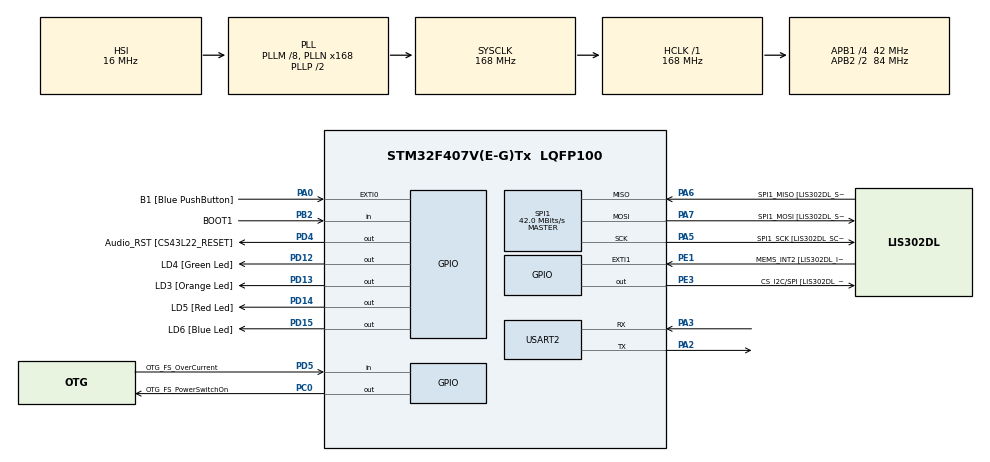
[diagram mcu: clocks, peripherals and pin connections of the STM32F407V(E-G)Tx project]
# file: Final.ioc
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Mcu.Family=STM32F4
Mcu.Name=STM32F407V(E-G)Tx
Mcu.Package=LQFP100
NVIC.PriorityGroup=NVIC_PRIORITYGROUP_0
NVIC.USART2_IRQn=true\:0\:0\:false\:false\:true\:true
PA0-WKUP.GPIO_Label=B1 [Blue PushButton]
PA0-WKUP.GPIO_ModeDefaultEXTI=GPIO_MODE_EVT_RISING
PA0-WKUP.GPIO_PuPd=GPIO_NOPULL
PA0-WKUP.Signal=GPXTI0
PA10.GPIO_Label=OTG_FS_ID
PA10.GPIO_Mode=GPIO_MODE_AF_PP
PA10.GPIO_PuPd=GPIO_NOPULL
PA10.GPIO_Speed=GPIO_SPEED_FREQ_LOW
PA10.Signal=USB_OTG_FS_ID
PA11.GPIO_Label=OTG_FS_DM
PA11.GPIO_Mode=GPIO_MODE_AF_PP
PA11.GPIO_PuPd=GPIO_NOPULL
PA11.GPIO_Speed=GPIO_SPEED_FREQ_LOW
PA11.Signal=USB_OTG_FS_DM
PA12.GPIO_Label=OTG_FS_DP
PA12.GPIO_Mode=GPIO_MODE_AF_PP
PA12.GPIO_PuPd=GPIO_NOPULL
PA12.GPIO_Speed=GPIO_SPEED_FREQ_LOW
PA12.Signal=USB_OTG_FS_DP
PA13.GPIO_Label=SWDIO
PA13.Signal=SYS_JTMS-SWDIO
PA14.GPIO_Label=SWCLK
PA14.Signal=SYS_JTCK-SWCLK
PA2.Mode=Asynchronous
PA2.Signal=USART2_TX
PA3.Mode=Asynchronous
PA3.Signal=USART2_RX
PA4.GPIO_Label=I2S3_WS [CS43L22_LRCK]
PA4.GPIO_Mode=GPIO_MODE_AF_PP
PA4.GPIO_PuPd=GPIO_NOPULL
PA4.GPIO_Speed=GPIO_SPEED_FREQ_LOW
PA4.Signal=I2S3_WS
PA5.GPIO_Label=SPI1_SCK [LIS302DL_SCL/SPC]
PA5.GPIO_Mode=GPIO_MODE_AF_PP
PA5.GPIO_PuPd=GPIO_NOPULL
PA5.GPIO_Speed=GPIO_SPEED_FREQ_LOW
PA5.Mode=Full_Duplex_Master
PA5.Signal=SPI1_SCK
PA6.GPIO_Label=SPI1_MISO [LIS302DL_SDO]
PA6.GPIO_Mode=GPIO_MODE_AF_PP
PA6.GPIO_PuPd=GPIO_NOPULL
PA6.GPIO_Speed=GPIO_SPEED_FREQ_LOW
PA6.Mode=Full_Duplex_Master
PA6.Signal=SPI1_MISO
PA7.GPIO_Label=SPI1_MOSI [LIS302DL_SDA/SDI/SDO]
PA7.GPIO_Mode=GPIO_MODE_AF_PP
PA7.GPIO_PuPd=GPIO_NOPULL
PA7.GPIO_Speed=GPIO_SPEED_FREQ_LOW
PA7.Mode=Full_Duplex_Master
PA7.Signal=SPI1_MOSI
PA9.GPIO_Label=VBUS_FS
PA9.GPIO_Mode=GPIO_MODE_INPUT
PA9.GPIO_PuPd=GPIO_NOPULL
PA9.Signal=USB_OTG_FS_VBUS
PB10.GPIO_Label=CLK_IN [MP45DT02_CLK]
PB10.GPIO_Mode=GPIO_MODE_AF_PP
PB10.GPIO_PuPd=GPIO_NOPULL
PB10.GPIO_Speed=GPIO_SPEED_FREQ_LOW
PB10.Signal=I2S2_CK
PB2.GPIO_Label=BOOT1
PB2.GPIO_Mode=GPIO_MODE_INPUT
PB2.GPIO_PuPd=GPIO_NOPULL
PB2.Signal=GPIO_Input
PB3.GPIO_Label=SWO
PB3.Signal=SYS_JTDO-SWO
PB6.GPIO_Label=Audio_SCL [CS43L22_SCL]
PB6.GPIO_Mode=GPIO_MODE_AF_OD
PB6.GPIO_PuPd=GPIO_NOPULL
PB6.GPIO_Speed=GPIO_SPEED_FREQ_LOW
PB6.Signal=I2C1_SCL
PB9.GPIO_Label=Audio_SDA [CS43L22_SDA]
PB9.GPIO_Mode=GPIO_MODE_AF_OD
PB9.GPIO_PuPd=GPIO_NOPULL
PB9.GPIO_Speed=GPIO_SPEED_FREQ_LOW
PB9.Signal=I2C1_SDA
PC0.GPIO_Label=OTG_FS_PowerSwitchOn
PC0.GPIO_PuPd=GPIO_NOPULL
PC0.GPIO_Speed=GPIO_SPEED_FREQ_LOW
PC0.PinState=GPIO_PIN_SET
PC0.Signal=GPIO_Output
PC10.GPIO_Label=I2S3_SCK [CS43L22_SCLK]
PC10.GPIO_Mode=GPIO_MODE_AF_PP
PC10.GPIO_PuPd=GPIO_NOPULL
PC10.GPIO_Speed=GPIO_SPEED_FREQ_LOW
PC10.Signal=I2S3_CK
PC12.GPIO_Label=I2S3_SD [CS43L22_SDIN]
PC12.GPIO_Mode=GPIO_MODE_AF_PP
PC12.GPIO_PuPd=GPIO_NOPULL
PC12.GPIO_Speed=GPIO_SPEED_FREQ_LOW
PC12.Signal=I2S3_SD
PC14-OSC32_IN.GPIO_Label=PC14-OSC32_IN
PC14-OSC32_IN.Signal=RCC_OSC32_IN
PC15-OSC32_OUT.GPIO_Label=PC15-OSC32_OUT
PC15-OSC32_OUT.Signal=RCC_OSC32_OUT
PC3.GPIO_Label=PDM_OUT [MP45DT02_DOUT]
PC3.GPIO_Mode=GPIO_MODE_AF_PP
PC3.GPIO_PuPd=GPIO_NOPULL
PC3.GPIO_Speed=GPIO_SPEED_FREQ_LOW
PC3.Signal=I2S2_SD
PC7.GPIO_Label=I2S3_MCK [CS43L22_MCLK]
PC7.GPIO_Mode=GPIO_MODE_AF_PP
PC7.GPIO_PuPd=GPIO_NOPULL
PC7.GPIO_Speed=GPIO_SPEED_FREQ_LOW
PC7.Signal=I2S3_MCK
PD12.GPIO_Label=LD4 [Green Led]
PD12.GPIO_PuPd=GPIO_NOPULL
PD12.GPIO_Speed=GPIO_SPEED_FREQ_LOW
PD12.Signal=GPIO_Output
PD13.GPIO_Label=LD3 [Orange Led]
PD13.GPIO_PuPd=GPIO_NOPULL
PD13.GPIO_Speed=GPIO_SPEED_FREQ_LOW
PD13.Signal=GPIO_Output
PD14.GPIO_Label=LD5 [Red Led]
PD14.GPIO_PuPd=GPIO_NOPULL
PD14.GPIO_Speed=GPIO_SPEED_FREQ_LOW
PD14.Signal=GPIO_Output
PD15.GPIO_Label=LD6 [Blue Led]
PD15.GPIO_PuPd=GPIO_NOPULL
PD15.GPIO_Speed=GPIO_SPEED_FREQ_LOW
PD15.Signal=GPIO_Output
PD4.GPIO_Label=Audio_RST [CS43L22_RESET]
PD4.GPIO_PuPd=GPIO_NOPULL
PD4.GPIO_Speed=GPIO_SPEED_FREQ_LOW
PD4.Signal=GPIO_Output
PD5.GPIO_Label=OTG_FS_OverCurrent
PD5.GPIO_Mode=GPIO_MODE_INPUT
PD5.GPIO_PuPd=GPIO_NOPULL
PD5.Signal=GPIO_Input
PE1.GPIO_Label=MEMS_INT2 [LIS302DL_INT2]
PE1.GPIO_ModeDefaultEXTI=GPIO_MODE_EVT_RISING
PE1.GPIO_PuPd=GPIO_NOPULL
PE1.Signal=GPXTI1
PE3.GPIO_Label=CS_I2C/SPI [LIS302DL_CS_I2C/SPI]
PE3.GPIO_PuPd=GPIO_NOPULL
PE3.GPIO_Speed=GPIO_SPEED_FREQ_LOW
PE3.Signal=GPIO_Output
PH0-OSC_IN.GPIO_Label=PH0-OSC_IN
PH0-OSC_IN.Signal=RCC_OSC_IN
PH1-OSC_OUT.GPIO_Label=PH1-OSC_OUT
PH1-OSC_OUT.Signal=RCC_OSC_OUT
ProjectManager.HeapSize=0x200
ProjectManager.StackSize=0x400
ProjectManager.TargetToolchain=MDK-ARM V5
RCC.48MHZClocksFreq_Value=48000000
RCC.AHBFreq_Value=168000000
RCC.APB1CLKDivider=RCC_HCLK_DIV4
RCC.APB1Freq_Value=42000000
RCC.APB1TimFreq_Value=84000000
RCC.APB2CLKDivider=RCC_HCLK_DIV2
RCC.APB2Freq_Value=84000000
RCC.APB2TimFreq_Value=168000000
RCC.CortexFreq_Value=168000000
RCC.HCLKFreq_Value=168000000
RCC.HSE_VALUE=8000000
RCC.HSI_VALUE=16000000
RCC.LSE_VALUE=32768
RCC.PLLM=8
RCC.PLLN=168
RCC.PLLQ=7
RCC.SYSCLKFreq_VALUE=168000000
RCC.SYSCLKSource=RCC_SYSCLKSOURCE_PLLCLK
RCC.VCOOutputFreq_Value=336000000
SPI1.CalculateBaudRate=42.0 MBits/s
SPI1.Direction=SPI_DIRECTION_2LINES
SPI1.Mode=SPI_MODE_MASTER
SPI1.VirtualType=VM_MASTER
USART2.VirtualMode=VM_ASYNC
board=STM32F4DISCOVERY

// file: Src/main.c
/**
  ******************************************************************************
  * @file           : main.c
  * @brief          : Main program body
  ******************************************************************************
  ** This notice applies to any and all portions of this file
  * that are not between comment pairs USER CODE BEGIN and
  * USER CODE END. Other portions of this file, whether
  * inserted by the user or by software development tools
  * are owned by their respective copyright owners.
  *
  * COPYRIGHT(c) 2019 STMicroelectronics
  *
  * Redistribution and use in source and binary forms, with or without modification,
  * are permitted provided that the following conditions are met:
  *   1. Redistributions of source code must retain the above copyright notice,
  *      this list of conditions and the following disclaimer.
  *   2. Redistributions in binary form must reproduce the above copyright notice,
  *      this list of conditions and the following disclaimer in the documentation
  *      and/or other materials provided with the distribution.
  *   3. Neither the name of STMicroelectronics nor the names of its contributors
  *      may be used to endorse or promote products derived from this software
  *      without specific prior written permission.
  *
  * THIS SOFTWARE IS PROVIDED BY THE COPYRIGHT HOLDERS AND CONTRIBUTORS "AS IS"
  * AND ANY EXPRESS OR IMPLIED WARRANTIES, INCLUDING, BUT NOT LIMITED TO, THE
  * IMPLIED WARRANTIES OF MERCHANTABILITY AND FITNESS FOR A PARTICULAR PURPOSE ARE
  * DISCLAIMED. IN NO EVENT SHALL THE COPYRIGHT HOLDER OR CONTRIBUTORS BE LIABLE
  * FOR ANY DIRECT, INDIRECT, INCIDENTAL, SPECIAL, EXEMPLARY, OR CONSEQUENTIAL
  * DAMAGES (INCLUDING, BUT NOT LIMITED TO, PROCUREMENT OF SUBSTITUTE GOODS OR
  * SERVICES; LOSS OF USE, DATA, OR PROFITS; OR BUSINESS INTERRUPTION) HOWEVER
  * CAUSED AND ON ANY THEORY OF LIABILITY, WHETHER IN CONTRACT, STRICT LIABILITY,
  * OR TORT (INCLUDING NEGLIGENCE OR OTHERWISE) ARISING IN ANY WAY OUT OF THE USE
  * OF THIS SOFTWARE, EVEN IF ADVISED OF THE POSSIBILITY OF SUCH DAMAGE.
  *
  ******************************************************************************
  */
#include "main.h"
#include "stm32f4xx_hal.h"

/* USER CODE BEGIN Includes */
#include "nrf24l01.h"
#include "string.h"
/* USER CODE END Includes */

SPI_HandleTypeDef hspi1;

extern UART_HandleTypeDef huart2;
UART_HandleTypeDef huart2;

/* USER CODE BEGIN PV */
/* Private variables ---------------------------------------------------------*/

/* USER CODE END PV */

void SystemClock_Config(void);
static void MX_GPIO_Init(void);
static void MX_SPI1_Init(void);
static void MX_USART2_UART_Init(void);

/* USER CODE BEGIN PFP */
/* Private function prototypes -----------------------------------------------*/

/* USER CODE END PFP */

/* USER CODE BEGIN 0 */
uint8_t data[32] = "";
int count = 0;
void receive_data_from_uart(){
	HAL_UART_Transmit(&huart2, (uint8_t *)"OK", 2 ,100);
	char ch = 'a';
	while(ch != '\n')
	{
			while(HAL_UART_Receive(&huart2,(unsigned char *)&ch, 1,100) != HAL_OK){};
			data[count++] = ch;
	}
	count = 0;
}

/* USER CODE END 0 */

int main(void)
{

  /* MCU Configuration----------------------------------------------------------*/

  /* Reset of all peripherals, Initializes the Flash interface and the Systick. */
  HAL_Init();

  /* USER CODE BEGIN Init */
		nrf24l01_dev dev;
		dev.spi = &hspi1;
    dev.DATA_RATE = NRF_DATA_RATE_1MBPS;
    dev.TX_POWER = NRF_TX_PWR_0dBm;
    dev.CRC_WIDTH = NRF_CRC_WIDTH_1B;
    dev.ADDR_WIDTH = NRF_ADDR_WIDTH_5;
    dev.STATE = NRF_STATE_TX; // this parameter can be deleted, each Rx/Tx will change this reg
    dev.PayloadLength = 32; // maximum is 32 Bytes
    dev.RetransmitCount = 10; // maximum is 15 times
    dev.RetransmitDelay = 0x0F; // 4000us, LSB:250us
		dev.RF_CHANNEL = 0;

    //enable RCC for GPIO port!!
    __HAL_RCC_GPIOA_CLK_ENABLE();
    dev.NRF_CSN_GPIOx = GPIOA;
    dev.NRF_CSN_GPIO_PIN = GPIO_PIN_0;
    dev.NRF_CE_GPIOx = GPIOA;
    dev.NRF_CE_GPIO_PIN = GPIO_PIN_1;
    dev.NRF_IRQ_GPIOx = GPIOA;
    dev.NRF_IRQ_GPIO_PIN = GPIO_PIN_2;

  /* USER CODE END Init */

  /* Configure the system clock */
  SystemClock_Config();

  /* Initialize all configured peripherals */
  MX_GPIO_Init();
	MX_SPI1_Init();
  MX_USART2_UART_Init();
  /* USER CODE BEGIN 2 */

	NRF_Init(&dev);
  static NRF_RESULT res;

  /* USER CODE END 2 */

  /* Infinite loop */
  while (1)
  {

  /* USER CODE BEGIN 3 */
		receive_data_from_uart();
	//	res = NRF_SendPacket(&dev, data);
//		res = NRF_ReceivePacket(&dev, data);

		HAL_UART_Transmit(&huart2, (uint8_t *)data, 5 ,100);
	//	HAL_UART_Transmit(&huart2, (uint8_t *)"OK", strlen("OK") ,100);

		HAL_Delay(1000);

  }
  /* USER CODE END 3 */

}

void SystemClock_Config(void)
{

  RCC_OscInitTypeDef RCC_OscInitStruct;
  RCC_ClkInitTypeDef RCC_ClkInitStruct;

    /**Configure the main internal regulator output voltage
    */
  __HAL_RCC_PWR_CLK_ENABLE();

  __HAL_PWR_VOLTAGESCALING_CONFIG(PWR_REGULATOR_VOLTAGE_SCALE1);

    /**Initializes the CPU, AHB and APB busses clocks
    */
  RCC_OscInitStruct.OscillatorType = RCC_OSCILLATORTYPE_HSI;
  RCC_OscInitStruct.HSIState = RCC_HSI_ON;
  RCC_OscInitStruct.HSICalibrationValue = 16;
  RCC_OscInitStruct.PLL.PLLState = RCC_PLL_ON;
  RCC_OscInitStruct.PLL.PLLSource = RCC_PLLSOURCE_HSI;
  RCC_OscInitStruct.PLL.PLLM = 8;
  RCC_OscInitStruct.PLL.PLLN = 168;
  RCC_OscInitStruct.PLL.PLLP = RCC_PLLP_DIV2;
  RCC_OscInitStruct.PLL.PLLQ = 7;
  if (HAL_RCC_OscConfig(&RCC_OscInitStruct) != HAL_OK)
  {
    _Error_Handler(__FILE__, __LINE__);
  }

    /**Initializes the CPU, AHB and APB busses clocks
    */
  RCC_ClkInitStruct.ClockType = RCC_CLOCKTYPE_HCLK|RCC_CLOCKTYPE_SYSCLK
                              |RCC_CLOCKTYPE_PCLK1|RCC_CLOCKTYPE_PCLK2;
  RCC_ClkInitStruct.SYSCLKSource = RCC_SYSCLKSOURCE_PLLCLK;
  RCC_ClkInitStruct.AHBCLKDivider = RCC_SYSCLK_DIV1;
  RCC_ClkInitStruct.APB1CLKDivider = RCC_HCLK_DIV4;
  RCC_ClkInitStruct.APB2CLKDivider = RCC_HCLK_DIV2;

  if (HAL_RCC_ClockConfig(&RCC_ClkInitStruct, FLASH_LATENCY_5) != HAL_OK)
  {
    _Error_Handler(__FILE__, __LINE__);
  }

    /**Configure the Systick interrupt time
    */
  HAL_SYSTICK_Config(HAL_RCC_GetHCLKFreq()/1000);

    /**Configure the Systick
    */
  HAL_SYSTICK_CLKSourceConfig(SYSTICK_CLKSOURCE_HCLK);

  /* SysTick_IRQn interrupt configuration */
  HAL_NVIC_SetPriority(SysTick_IRQn, 0, 0);
}

/* SPI1 init function */
static void MX_SPI1_Init(void)
{

  /* SPI1 parameter configuration*/
  hspi1.Instance = SPI1;
  hspi1.Init.Mode = SPI_MODE_MASTER;
  hspi1.Init.Direction = SPI_DIRECTION_2LINES;
  hspi1.Init.DataSize = SPI_DATASIZE_8BIT;
  hspi1.Init.CLKPolarity = SPI_POLARITY_LOW;
  hspi1.Init.CLKPhase = SPI_PHASE_1EDGE;
  hspi1.Init.NSS = SPI_NSS_SOFT;
  hspi1.Init.BaudRatePrescaler = SPI_BAUDRATEPRESCALER_2;
  hspi1.Init.FirstBit = SPI_FIRSTBIT_MSB;
  hspi1.Init.TIMode = SPI_TIMODE_DISABLE;
  hspi1.Init.CRCCalculation = SPI_CRCCALCULATION_DISABLE;
  hspi1.Init.CRCPolynomial = 10;
  if (HAL_SPI_Init(&hspi1) != HAL_OK)
  {
    _Error_Handler(__FILE__, __LINE__);
  }

}

/* USART2 init function */
static void MX_USART2_UART_Init(void)
{

  huart2.Instance = USART2;
  huart2.Init.BaudRate = 115200;
  huart2.Init.WordLength = UART_WORDLENGTH_8B;
  huart2.Init.StopBits = UART_STOPBITS_1;
  huart2.Init.Parity = UART_PARITY_NONE;
  huart2.Init.Mode = UART_MODE_TX_RX;
  huart2.Init.HwFlowCtl = UART_HWCONTROL_NONE;
  huart2.Init.OverSampling = UART_OVERSAMPLING_16;
  if (HAL_UART_Init(&huart2) != HAL_OK)
  {
    _Error_Handler(__FILE__, __LINE__);
  }

}

/** Configure pins as
        * Analog
        * Input
        * Output
        * EVENT_OUT
        * EXTI
     PC3   ------> I2S2_SD
     PA4   ------> I2S3_WS
     PB10   ------> I2S2_CK
     PC7   ------> I2S3_MCK
     PA9   ------> USB_OTG_FS_VBUS
     PA10   ------> USB_OTG_FS_ID
     PA11   ------> USB_OTG_FS_DM
     PA12   ------> USB_OTG_FS_DP
     PC10   ------> I2S3_CK
     PC12   ------> I2S3_SD
     PB6   ------> I2C1_SCL
     PB9   ------> I2C1_SDA
*/
static void MX_GPIO_Init(void)
{

  GPIO_InitTypeDef GPIO_InitStruct;

  /* GPIO Ports Clock Enable */
  __HAL_RCC_GPIOE_CLK_ENABLE();
  __HAL_RCC_GPIOC_CLK_ENABLE();
  __HAL_RCC_GPIOH_CLK_ENABLE();
  __HAL_RCC_GPIOA_CLK_ENABLE();
  __HAL_RCC_GPIOB_CLK_ENABLE();
  __HAL_RCC_GPIOD_CLK_ENABLE();

  /*Configure GPIO pin Output Level */
  HAL_GPIO_WritePin(CS_I2C_SPI_GPIO_Port, CS_I2C_SPI_Pin, GPIO_PIN_RESET);

  /*Configure GPIO pin Output Level */
  HAL_GPIO_WritePin(OTG_FS_PowerSwitchOn_GPIO_Port, OTG_FS_PowerSwitchOn_Pin, GPIO_PIN_SET);

  /*Configure GPIO pin Output Level */
  HAL_GPIO_WritePin(GPIOD, LD4_Pin|LD3_Pin|LD5_Pin|LD6_Pin
                          |Audio_RST_Pin, GPIO_PIN_RESET);

  /*Configure GPIO pin : CS_I2C_SPI_Pin */
  GPIO_InitStruct.Pin = CS_I2C_SPI_Pin;
  GPIO_InitStruct.Mode = GPIO_MODE_OUTPUT_PP;
  GPIO_InitStruct.Pull = GPIO_NOPULL;
  GPIO_InitStruct.Speed = GPIO_SPEED_FREQ_LOW;
  HAL_GPIO_Init(CS_I2C_SPI_GPIO_Port, &GPIO_InitStruct);

  /*Configure GPIO pin : OTG_FS_PowerSwitchOn_Pin */
  GPIO_InitStruct.Pin = OTG_FS_PowerSwitchOn_Pin;
  GPIO_InitStruct.Mode = GPIO_MODE_OUTPUT_PP;
  GPIO_InitStruct.Pull = GPIO_NOPULL;
  GPIO_InitStruct.Speed = GPIO_SPEED_FREQ_LOW;
  HAL_GPIO_Init(OTG_FS_PowerSwitchOn_GPIO_Port, &GPIO_InitStruct);

  /*Configure GPIO pin : PDM_OUT_Pin */
  GPIO_InitStruct.Pin = PDM_OUT_Pin;
  GPIO_InitStruct.Mode = GPIO_MODE_AF_PP;
  GPIO_InitStruct.Pull = GPIO_NOPULL;
  GPIO_InitStruct.Speed = GPIO_SPEED_FREQ_LOW;
  GPIO_InitStruct.Alternate = GPIO_AF5_SPI2;
  HAL_GPIO_Init(PDM_OUT_GPIO_Port, &GPIO_InitStruct);

  /*Configure GPIO pin : B1_Pin */
  GPIO_InitStruct.Pin = B1_Pin;
  GPIO_InitStruct.Mode = GPIO_MODE_EVT_RISING;
  GPIO_InitStruct.Pull = GPIO_NOPULL;
  HAL_GPIO_Init(B1_GPIO_Port, &GPIO_InitStruct);

  /*Configure GPIO pin : I2S3_WS_Pin */
  GPIO_InitStruct.Pin = I2S3_WS_Pin;
  GPIO_InitStruct.Mode = GPIO_MODE_AF_PP;
  GPIO_InitStruct.Pull = GPIO_NOPULL;
  GPIO_InitStruct.Speed = GPIO_SPEED_FREQ_LOW;
  GPIO_InitStruct.Alternate = GPIO_AF6_SPI3;
  HAL_GPIO_Init(I2S3_WS_GPIO_Port, &GPIO_InitStruct);

  /*Configure GPIO pin : BOOT1_Pin */
  GPIO_InitStruct.Pin = BOOT1_Pin;
  GPIO_InitStruct.Mode = GPIO_MODE_INPUT;
  GPIO_InitStruct.Pull = GPIO_NOPULL;
  HAL_GPIO_Init(BOOT1_GPIO_Port, &GPIO_InitStruct);

  /*Configure GPIO pin : CLK_IN_Pin */
  GPIO_InitStruct.Pin = CLK_IN_Pin;
  GPIO_InitStruct.Mode = GPIO_MODE_AF_PP;
  GPIO_InitStruct.Pull = GPIO_NOPULL;
  GPIO_InitStruct.Speed = GPIO_SPEED_FREQ_LOW;
  GPIO_InitStruct.Alternate = GPIO_AF5_SPI2;
  HAL_GPIO_Init(CLK_IN_GPIO_Port, &GPIO_InitStruct);

  /*Configure GPIO pins : LD4_Pin LD3_Pin LD5_Pin LD6_Pin
                           Audio_RST_Pin */
  GPIO_InitStruct.Pin = LD4_Pin|LD3_Pin|LD5_Pin|LD6_Pin
                          |Audio_RST_Pin;
  GPIO_InitStruct.Mode = GPIO_MODE_OUTPUT_PP;
  GPIO_InitStruct.Pull = GPIO_NOPULL;
  GPIO_InitStruct.Speed = GPIO_SPEED_FREQ_LOW;
  HAL_GPIO_Init(GPIOD, &GPIO_InitStruct);

  /*Configure GPIO pins : I2S3_MCK_Pin I2S3_SCK_Pin I2S3_SD_Pin */
  GPIO_InitStruct.Pin = I2S3_MCK_Pin|I2S3_SCK_Pin|I2S3_SD_Pin;
  GPIO_InitStruct.Mode = GPIO_MODE_AF_PP;
  GPIO_InitStruct.Pull = GPIO_NOPULL;
  GPIO_InitStruct.Speed = GPIO_SPEED_FREQ_LOW;
  GPIO_InitStruct.Alternate = GPIO_AF6_SPI3;
  HAL_GPIO_Init(GPIOC, &GPIO_InitStruct);

  /*Configure GPIO pin : VBUS_FS_Pin */
  GPIO_InitStruct.Pin = VBUS_FS_Pin;
  GPIO_InitStruct.Mode = GPIO_MODE_INPUT;
  GPIO_InitStruct.Pull = GPIO_NOPULL;
  HAL_GPIO_Init(VBUS_FS_GPIO_Port, &GPIO_InitStruct);

  /*Configure GPIO pins : OTG_FS_ID_Pin OTG_FS_DM_Pin OTG_FS_DP_Pin */
  GPIO_InitStruct.Pin = OTG_FS_ID_Pin|OTG_FS_DM_Pin|OTG_FS_DP_Pin;
  GPIO_InitStruct.Mode = GPIO_MODE_AF_PP;
  GPIO_InitStruct.Pull = GPIO_NOPULL;
  GPIO_InitStruct.Speed = GPIO_SPEED_FREQ_LOW;
  GPIO_InitStruct.Alternate = GPIO_AF10_OTG_FS;
  HAL_GPIO_Init(GPIOA, &GPIO_InitStruct);

  /*Configure GPIO pin : OTG_FS_OverCurrent_Pin */
  GPIO_InitStruct.Pin = OTG_FS_OverCurrent_Pin;
  GPIO_InitStruct.Mode = GPIO_MODE_INPUT;
  GPIO_InitStruct.Pull = GPIO_NOPULL;
  HAL_GPIO_Init(OTG_FS_OverCurrent_GPIO_Port, &GPIO_InitStruct);

  /*Configure GPIO pins : Audio_SCL_Pin Audio_SDA_Pin */
  GPIO_InitStruct.Pin = Audio_SCL_Pin|Audio_SDA_Pin;
  GPIO_InitStruct.Mode = GPIO_MODE_AF_OD;
  GPIO_InitStruct.Pull = GPIO_PULLUP;
  GPIO_InitStruct.Speed = GPIO_SPEED_FREQ_LOW;
  GPIO_InitStruct.Alternate = GPIO_AF4_I2C1;
  HAL_GPIO_Init(GPIOB, &GPIO_InitStruct);

  /*Configure GPIO pin : MEMS_INT2_Pin */
  GPIO_InitStruct.Pin = MEMS_INT2_Pin;
  GPIO_InitStruct.Mode = GPIO_MODE_EVT_RISING;
  GPIO_InitStruct.Pull = GPIO_NOPULL;
  HAL_GPIO_Init(MEMS_INT2_GPIO_Port, &GPIO_InitStruct);

}

void _Error_Handler(char *file, int line)
{
  while(1)
  {
  }
}

/************************ (C) COPYRIGHT STMicroelectronics *****END OF FILE****/
